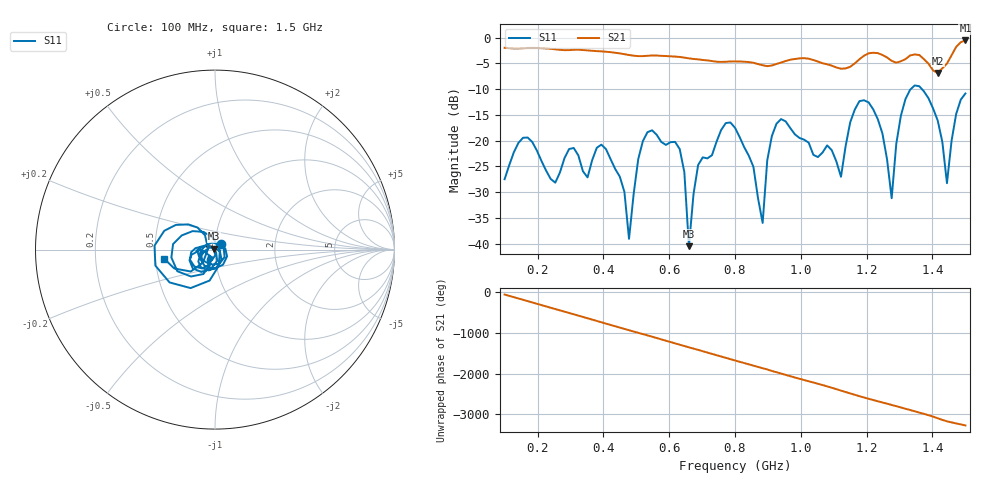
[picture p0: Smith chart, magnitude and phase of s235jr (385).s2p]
! NanoVNA-App
! Date: 2025-09-25 15:07:09
! Start: 100MHz Stop: 1,5GHz Points: 101
! S-Parameter data: F S11 S21 S12 S22
# Hz S RI R 50
!  Frequency  S11_Real  S11_Imag  S21_Real  S21_Imag  S12_Real  S12_Imag  S22_Real  S22_Imag
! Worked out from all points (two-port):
!   101 points, 100 MHz to 1.5 GHz, reference 50 ohm
!   highest |S21| = -0.54 dB at 1.5 GHz (marker M1); lowest = -6.8 dB at 1.416 GHz (marker M2)
!   |S21| within 3 dB of the highest: start of sweep to 499.1 MHz; 1.191 GHz to 1.253 GHz (61.97 MHz wide, 5.07 % of centre) (the widest 2 of 5)
!   lowest |S11| = -40.5 dB at 660 MHz (marker M3), VSWR 1.02, Z = 49.2 + j0.549 ohm
!   |S11| at or under -10 dB: start of sweep to 1.334 GHz; 1.368 GHz to end of sweep
!   S12 and S22 are empty: the file has one direction only
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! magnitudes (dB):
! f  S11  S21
! 100 MHz  -27.5  -2.0
! 156 MHz  -19.4  -2.1
! 338 MHz  -25.9  -2.4
! 408 MHz  -21.6  -2.7
! 478 MHz  -39.0  -3.4
! 520 MHz  -20.1  -3.6
! 576 MHz  -20.2  -3.5
! 632 MHz  -21.6  -3.7
! 660 MHz  -40.5  -4.0
! 688 MHz  -24.7  -4.2
! 800 MHz  -17.5  -4.6
! 884 MHz  -36.0  -5.4
! 926 MHz  -16.7  -5.1
! 1.038 GHz  -22.7  -4.3
! 1.122 GHz  -27.0  -6.0
! 1.164 GHz  -13.9  -5.0
! 1.206 GHz  -12.6  -3.0
! 1.276 GHz  -31.2  -4.5
! 1.332 GHz  -10.1  -3.4
! 1.416 GHz  -16.1  -6.8
! 1.444 GHz  -28.2  -5.0
! 1.5 GHz  -10.8  -0.5
